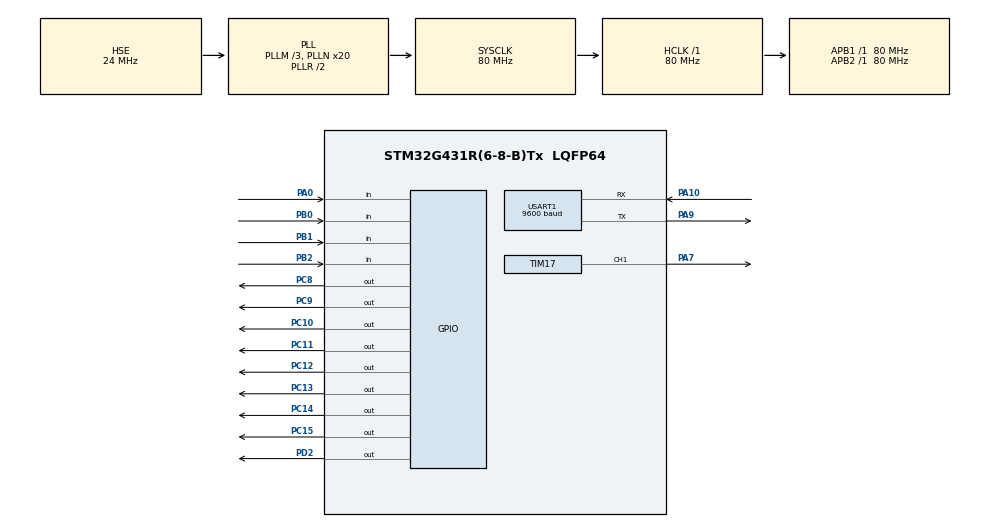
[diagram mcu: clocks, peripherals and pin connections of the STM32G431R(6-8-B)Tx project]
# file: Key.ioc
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Mcu.Family=STM32G4
Mcu.Name=STM32G431R(6-8-B)Tx
Mcu.Package=LQFP64
NVIC.PriorityGroup=NVIC_PRIORITYGROUP_4
NVIC.TIM3_IRQn=true\:0\:0\:false\:false\:true\:true\:true\:true
NVIC.USART1_IRQn=true\:0\:0\:false\:false\:true\:true\:true\:true
PA0.Signal=GPIO_Input
PA10.Mode=Asynchronous
PA10.Signal=USART1_RX
PA13.Mode=Serial_Wire
PA13.Signal=SYS_JTMS-SWDIO
PA14.Mode=Serial_Wire
PA14.Signal=SYS_JTCK-SWCLK
PA7.Signal=S_TIM17_CH1
PA9.Mode=Asynchronous
PA9.Signal=USART1_TX
PB0.GPIO_PuPd=GPIO_PULLUP
PB0.Signal=GPIO_Input
PB1.GPIO_PuPd=GPIO_PULLUP
PB1.Signal=GPIO_Input
PB2.GPIO_PuPd=GPIO_PULLUP
PB2.Signal=GPIO_Input
PC10.PinState=GPIO_PIN_SET
PC10.Signal=GPIO_Output
PC11.PinState=GPIO_PIN_SET
PC11.Signal=GPIO_Output
PC12.PinState=GPIO_PIN_SET
PC12.Signal=GPIO_Output
PC13.PinState=GPIO_PIN_SET
PC13.Signal=GPIO_Output
PC14-OSC32_IN.PinState=GPIO_PIN_SET
PC14-OSC32_IN.Signal=GPIO_Output
PC15-OSC32_OUT.PinState=GPIO_PIN_SET
PC15-OSC32_OUT.Signal=GPIO_Output
PC8.PinState=GPIO_PIN_SET
PC8.Signal=GPIO_Output
PC9.PinState=GPIO_PIN_SET
PC9.Signal=GPIO_Output
PD2.GPIO_ModeDefaultOutputPP=GPIO_MODE_OUTPUT_PP
PD2.GPIO_PuPd=GPIO_PULLUP
PD2.Signal=GPIO_Output
PF0-OSC_IN.Mode=HSE-External-Oscillator
PF0-OSC_IN.Signal=RCC_OSC_IN
PF1-OSC_OUT.Mode=HSE-External-Oscillator
PF1-OSC_OUT.Signal=RCC_OSC_OUT
ProjectManager.HeapSize=0x200
ProjectManager.StackSize=0x400
ProjectManager.TargetToolchain=MDK-ARM V5.32
RCC.ADC12Freq_Value=80000000
RCC.AHBFreq_Value=80000000
RCC.APB1Freq_Value=80000000
RCC.APB1TimFreq_Value=80000000
RCC.APB2Freq_Value=80000000
RCC.APB2TimFreq_Value=80000000
RCC.CortexFreq_Value=80000000
RCC.EXTERNAL_CLOCK_VALUE=12288000
RCC.HCLKFreq_Value=80000000
RCC.HSE_VALUE=24000000
RCC.HSI48_VALUE=48000000
RCC.HSI_VALUE=16000000
RCC.LSE_VALUE=32768
RCC.PLLM=RCC_PLLM_DIV3
RCC.PLLN=20
RCC.PLLSourceVirtual=RCC_PLLSOURCE_HSE
RCC.SYSCLKFreq_VALUE=80000000
RCC.SYSCLKSource=RCC_SYSCLKSOURCE_PLLCLK
RCC.USBFreq_Value=80000000
RCC.VCOOutputFreq_Value=160000000
SH.S_TIM17_CH1.0=TIM17_CH1,PWM Generation1 CH1
TIM17.Channel=TIM_CHANNEL_1
TIM17.PeriodNoDither=10-1
TIM17.Prescaler=4000-1
TIM17.PulseNoDither_1=20
TIM3.PeriodNoDither=10000-1
TIM3.Prescaler=80-1
USART1.BaudRate=9600
USART1.VirtualMode-Asynchronous=VM_ASYNC
VP_SYS_VS_DBSignals.Mode=DisableDeadBatterySignals
VP_TIM17_VS_ClockSourceINT.Mode=Enable_Timer
VP_TIM3_VS_ClockSourceINT.Mode=Internal
board=custom

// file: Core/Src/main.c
/* USER CODE BEGIN Header */
/**
  ******************************************************************************
  * @file           : main.c
  * @brief          : Main program body
  ******************************************************************************
  * @attention
  *
  * Copyright (c) 2024 STMicroelectronics.
  * All rights reserved.
  *
  * This software is licensed under terms that can be found in the LICENSE file
  * in the root directory of this software component.
  * If no LICENSE file comes with this software, it is provided AS-IS.
  *
  ******************************************************************************
  */
/* USER CODE END Header */
#include "main.h"
#include "tim.h"
#include "usart.h"
#include "gpio.h"

/* USER CODE BEGIN Includes */
#include "interrupt.h"
#include "lcd.h"
#include "stdlib.h"
#include "stdio.h"
#include "string.h"
/* USER CODE END Includes */

/* USER CODE BEGIN PTD */
extern struct keys key[4];
extern uint8_t rxbuffer[30];
extern uint8_t uart_flag;
extern uint8_t rx_data;
extern uint8_t rx_pointer;
void key_pro(void);
void view_pro(void);
void led_control(void);
void rx_pro(void);
uint8_t isparked(uint8_t* car_type , uint8_t* car_data);
uint8_t isempty(void);

/* USER CODE END PTD */

/* USER CODE BEGIN PD */
	uint8_t view=0;
	uint8_t CNBR=0;
	uint8_t VNBR=0;
	uint8_t IDLE=8;
	float cnbr_price=3.5;
	float	vnbr_price=2.0;
  uint8_t control=0;
  uint8_t car_type[5];
  uint8_t car_data[5];
  uint8_t car_time[13];
typedef struct Park
  {
    uint8_t car_type[5];
    uint8_t car_data[5];
    uint8_t car_time[13];
    bool ifPark;
  }Park;
/* USER CODE END PD */

/* USER CODE BEGIN PM */
Park park[8];
void Park_Init(Park* park);
/* USER CODE END PM */

void SystemClock_Config(void);

int main(void)
{

  /* MCU Configuration--------------------------------------------------------*/

  /* Reset of all peripherals, Initializes the Flash interface and the Systick. */
  HAL_Init();

  /* Configure the system clock */
  SystemClock_Config();

  /* Initialize all configured peripherals */
    MX_GPIO_Init();
    MX_TIM3_Init();
    MX_TIM17_Init();
    MX_USART1_UART_Init();
  /* USER CODE BEGIN 2 */
		LCD_Init();
		LCD_Clear(Black);
		LCD_SetBackColor(Black);
		LCD_SetTextColor(White);
    MX_GPIO_Init();
    MX_TIM3_Init();
    HAL_TIM_Base_Start_IT(&htim3);
    HAL_TIM_PWM_Start(&htim17,TIM_CHANNEL_1);
    HAL_UART_Receive_IT(&huart1 , &rx_data , 1);
    Park_Init(park);
    //HAL_GPIO_WritePin(GPIOD,GPIO_PIN_2,GPIO_PIN_SET);

  /* USER CODE END 2 */

  /* Infinite loop */
  while (1)
  {

    /* USER CODE BEGIN 3 */
			key_pro();
      view_pro();
      led_control();
      if(uart_flag==1)
      {
        //HAL_UART_Transmit(&huart1 , (uint8_t*)rxbuffer , strlen(rxbuffer),50);
        rx_pro();
        uart_flag=0;
      }

      //HAL_UART_Transmit(&huart1,(uint8_t *)"Error",strlen("Error"),50);
  }
  /* USER CODE END 3 */
}

void SystemClock_Config(void)
{
  RCC_OscInitTypeDef RCC_OscInitStruct = {0};
  RCC_ClkInitTypeDef RCC_ClkInitStruct = {0};

  /** Configure the main internal regulator output voltage
  */
  HAL_PWREx_ControlVoltageScaling(PWR_REGULATOR_VOLTAGE_SCALE1);

  /** Initializes the RCC Oscillators according to the specified parameters
  * in the RCC_OscInitTypeDef structure.
  */
  RCC_OscInitStruct.OscillatorType = RCC_OSCILLATORTYPE_HSE;
  RCC_OscInitStruct.HSEState = RCC_HSE_ON;
  RCC_OscInitStruct.PLL.PLLState = RCC_PLL_ON;
  RCC_OscInitStruct.PLL.PLLSource = RCC_PLLSOURCE_HSE;
  RCC_OscInitStruct.PLL.PLLM = RCC_PLLM_DIV3;
  RCC_OscInitStruct.PLL.PLLN = 20;
  RCC_OscInitStruct.PLL.PLLP = RCC_PLLP_DIV2;
  RCC_OscInitStruct.PLL.PLLQ = RCC_PLLQ_DIV2;
  RCC_OscInitStruct.PLL.PLLR = RCC_PLLR_DIV2;
  if (HAL_RCC_OscConfig(&RCC_OscInitStruct) != HAL_OK)
  {
    Error_Handler();
  }

  /** Initializes the CPU, AHB and APB buses clocks
  */
  RCC_ClkInitStruct.ClockType = RCC_CLOCKTYPE_HCLK|RCC_CLOCKTYPE_SYSCLK
                              |RCC_CLOCKTYPE_PCLK1|RCC_CLOCKTYPE_PCLK2;
  RCC_ClkInitStruct.SYSCLKSource = RCC_SYSCLKSOURCE_PLLCLK;
  RCC_ClkInitStruct.AHBCLKDivider = RCC_SYSCLK_DIV1;
  RCC_ClkInitStruct.APB1CLKDivider = RCC_HCLK_DIV1;
  RCC_ClkInitStruct.APB2CLKDivider = RCC_HCLK_DIV1;

  if (HAL_RCC_ClockConfig(&RCC_ClkInitStruct, FLASH_LATENCY_2) != HAL_OK)
  {
    Error_Handler();
  }
}

/* USER CODE BEGIN 4 */
void key_pro(void)
{
	if(key[0].single_flag==1)
	{
		key[0].single_flag=0;
    view+=1;
    if(view>1){
      view = 0;
    }
	}
	if(key[1].single_flag==1)
	{
		key[1].single_flag=0;
    if(view==1)
    {
      cnbr_price+=0.5f;
      vnbr_price+=0.5f;
    }
	}
	if(key[2].single_flag==1)
	{
		key[2].single_flag=0;
    if(view==1)
    {
      cnbr_price-=0.5f;
      vnbr_price-=0.5f;
    }
	}
	if(key[3].single_flag==1)
	{
		key[3].single_flag=0;
    control+=1;
    if(control>1)
    {
      control=0;
    }
	}
}

void view_pro(void)
{
	if(view==0)
	{
		LCD_DisplayStringLine(Line1,(uint8_t *)"       Data         ");
		uint8_t text[30];
		sprintf(text , "   CNBR:%d           ",CNBR);
		LCD_DisplayStringLine(Line3,(uint8_t *)text);
		sprintf(text , "   VNBR:%d           ",VNBR);
		LCD_DisplayStringLine(Line5,(uint8_t *)text);
		sprintf(text , "   IDLE:%d           ",IDLE);
		LCD_DisplayStringLine(Line7,(uint8_t *)text);
	}

	if(view==1)
	{
		LCD_DisplayStringLine(Line1,(uint8_t *)"       Para         ");
		uint8_t text[30];
		sprintf(text,"   CNBR:%.2f      ",cnbr_price);
		LCD_DisplayStringLine(Line3,(uint8_t *)text);
		sprintf(text,"   VNBR:%.2f      ",vnbr_price);
		LCD_DisplayStringLine(Line5,(uint8_t *)text);
		LCD_DisplayStringLine(Line7,(uint8_t *)"                   ");
	}
}

void control_PA7()
{
    if(control==0)
    {
      __HAL_TIM_SET_PRESCALER(&htim17,400-1);
      __HAL_TIM_SET_AUTORELOAD(&htim17,100-1);
      __HAL_TIM_SET_COMPARE(&htim17,TIM_CHANNEL_1,20);
      HAL_TIM_GenerateEvent(&htim17,TIM_EVENTSOURCE_UPDATE);

    }else{
      __HAL_TIM_SET_COMPARE(&htim17,TIM_CHANNEL_1,0);
      HAL_TIM_GenerateEvent(&htim17,TIM_EVENTSOURCE_UPDATE);
    }
}

void led_control()
{
  if(IDLE)
  {
    HAL_GPIO_WritePin(GPIOC,GPIO_PIN_8|GPIO_PIN_9|GPIO_PIN_10|GPIO_PIN_11|GPIO_PIN_12|GPIO_PIN_13|GPIO_PIN_14|GPIO_PIN_15,GPIO_PIN_SET);
    HAL_GPIO_WritePin(GPIOC,GPIO_PIN_8,GPIO_PIN_RESET);
    HAL_GPIO_WritePin(GPIOD,GPIO_PIN_2,GPIO_PIN_SET);
    HAL_GPIO_WritePin(GPIOD,GPIO_PIN_2,GPIO_PIN_RESET);
  }else{
    HAL_GPIO_WritePin(GPIOC,GPIO_PIN_8|GPIO_PIN_9|GPIO_PIN_10|GPIO_PIN_11|GPIO_PIN_12|GPIO_PIN_13|GPIO_PIN_14|GPIO_PIN_15,GPIO_PIN_SET);
    HAL_GPIO_WritePin(GPIOC,GPIO_PIN_8,GPIO_PIN_SET);
    HAL_GPIO_WritePin(GPIOD,GPIO_PIN_2,GPIO_PIN_SET);
    HAL_GPIO_WritePin(GPIOD,GPIO_PIN_2,GPIO_PIN_RESET);
  }
  if(control==0)
  {
    HAL_GPIO_WritePin(GPIOC,GPIO_PIN_9,GPIO_PIN_RESET);
    HAL_GPIO_WritePin(GPIOD,GPIO_PIN_2,GPIO_PIN_SET);
    HAL_GPIO_WritePin(GPIOD,GPIO_PIN_2,GPIO_PIN_RESET);
  }else{
    HAL_GPIO_WritePin(GPIOC,GPIO_PIN_9,GPIO_PIN_SET);
    HAL_GPIO_WritePin(GPIOD,GPIO_PIN_2,GPIO_PIN_SET);
    HAL_GPIO_WritePin(GPIOD,GPIO_PIN_2,GPIO_PIN_RESET);
  }
}

void rx_pro()
{
  uint8_t numok;

  for(int i=10;i<22;i++)
  {
    if(rxbuffer[i]<='9'&&rxbuffer[i]>='0'){
      numok = 1;
      //HAL_UART_Transmit(&huart1 , (uint8_t*)rxbuffer , strlen(rxbuffer),50);
    }else{
      numok = 0;
      HAL_UART_Transmit(&huart1,(uint8_t *)"Error\r\n",strlen("Error\r\n"),50);
    }
  }
  if(numok && (strncmp("VNBR",rxbuffer,4)==0||strncmp("CNBR",rxbuffer,4)==0))
  {
    sscanf(rxbuffer,"%4s:%4s:%12s", car_type , car_data , car_time);
    // char text[10];
    // sprintf(text , "%d\r\n" , rx_pointer);
    // HAL_UART_Transmit(&huart1 , (uint8_t*)text , strlen(text),50);
    // HAL_UART_Transmit(&huart1 , (uint8_t*)car_type , strlen(car_type),50);
    // HAL_UART_Transmit(&huart1 , "\r\n" , strlen("\r\n"),50);
    // HAL_UART_Transmit(&huart1 , (uint8_t*)car_data , strlen(car_data),50);
    // HAL_UART_Transmit(&huart1 , "\r\n" , strlen("\r\n"),50);
    // HAL_UART_Transmit(&huart1 , (uint8_t*)car_time , strlen(car_time),50);
    int ifpark = isparked(car_type , car_data);
    if(ifpark==8)
    {
      //入库函数
      uint8_t emptyPark = isempty();
      if(strncmp("CNBR" , car_type , 4)==0)
      {
        CNBR++;
        IDLE--;
      }else if(strncmp("VNBR" , car_type , 4)==0)
      {
        VNBR++;
        IDLE--;
      }
      strcpy(park[emptyPark].car_type , car_type);
      strcpy(park[emptyPark].car_data , car_data);
      strcpy(park[emptyPark].car_time , car_time);
      park[emptyPark].ifPark = 0;
          // HAL_UART_Transmit(&huart1 , (uint8_t*)park[emptyPark].car_type , strlen(park[emptyPark].car_type),50);
          // HAL_UART_Transmit(&huart1 , "\r\n" , strlen("\r\n"),50);
          // HAL_UART_Transmit(&huart1 , (uint8_t*)park[emptyPark].car_data , strlen(park[emptyPark].car_data),50);
          // HAL_UART_Transmit(&huart1 , "\r\n" , strlen("\r\n"),50);
          // HAL_UART_Transmit(&huart1 , (uint8_t*)park[emptyPark].car_time , strlen(park[emptyPark].car_time),50);
          // HAL_UART_Transmit(&huart1 , "\r\n" , strlen("\r\n"),50);
          // char text[10];
          // sprintf(text , "%d\r\n" , park[emptyPark].ifPark);
          // HAL_UART_Transmit(&huart1 , (uint8_t*)text , strlen(text),50);
    }
    else
    {
      //出库函数
      int dayin,dayout;
      int hourin,hourout;
      int minin,minout;
      dayin = (park[ifpark].car_time[4]-'0')*10 + (park[ifpark].car_time[5] - '0');
      dayout = (car_time[4]-'0')*10 + (car_time[5]-'0');
          // char text[10];
          // sprintf(text , "dayin:%d\r\n" , dayin);
          // HAL_UART_Transmit(&huart1 , (uint8_t*)text , strlen(text),50);
          // sprintf(text , "dayout:%d\r\n" , dayout);
          // HAL_UART_Transmit(&huart1 , (uint8_t*)text , strlen(text),50);
      int daylong = dayout - dayin;
      hourin = (park[ifpark].car_time[6]-'0')*10 + (park[ifpark].car_time[7] - '0');
      hourout = (car_time[6]-'0')*10 + (car_time[7]-'0');
      int hourlong = hourout - hourin + 24*daylong;
      minin = (park[ifpark].car_time[8]-'0')*10 + (park[ifpark].car_time[9] - '0');
      minout = (car_time[8]-'0')*10 + (car_time[9]-'0');
      if(minout - minin>0)
      {
        hourlong++;
      }
      if(strncmp("CNBR" , car_type , 4)==0)
      {
        uint8_t result[30];
        // uint8_t price[10];
        // sprintf(price , "%.2f\n" , cnbr_price*hourlong);
        // HAL_UART_Transmit(&huart1 , (uint8_t *)price , strlen(price) , 50);
        // HAL_UART_Transmit(&huart1 , (uint8_t *)car_type , strlen(car_type) , 50);
        sprintf(result , "%s:%s:%.2f\r\n" , car_type , car_data , cnbr_price*hourlong);
        HAL_UART_Transmit(&huart1 , (uint8_t *)result , strlen(result) , 50);
        IDLE++;
        CNBR--;
        strcpy(park[ifpark].car_type , "0");
        strcpy(park[ifpark].car_data , "0");
        strcpy(park[ifpark].car_time , "0");
        park[ifpark].ifPark = 1;
      }
      if(strncmp("VNBR" , car_type , 4)==0)
      {
        uint8_t result[30];
        sprintf(result , "%s:%s:%.2f\r\n" , car_type , car_data , vnbr_price*hourlong);
        HAL_UART_Transmit(&huart1 , (uint8_t *)result , strlen(result) , 50);
        IDLE++;
        VNBR--;
        strcpy(park[ifpark].car_type , "0");
        strcpy(park[ifpark].car_data , "0");
        strcpy(park[ifpark].car_time , "0");
        park[ifpark].ifPark = 1;
      }
    }
  }else{
    HAL_UART_Transmit(&huart1 , (uint8_t *)"Error\r\n" , strlen("Error\r\n") , 50);
  }
  rx_pointer=0;
  memset(rxbuffer , 0 , 30);
}
uint8_t isparked(uint8_t* car_type , uint8_t* car_data)
{
    uint8_t i;
    for(i=0;i<8;i++)
    {
      if(park[i].ifPark ==1)    //ifPark为1表示没停车
          continue;
      if(strncmp(car_type , park[i].car_type , 4)==0 && strncmp(car_data , park[i].car_data , 4)==0)
      {
        break;
      }
    }
    return i;
}

uint8_t isempty()
{
  uint8_t i=0;
  for(i=0;i<8;i++)
  {
    if(park[i].ifPark)
        return i;
  }
}

void Park_Init(Park* park)
{
    for(int i=0;i<8;i++)
    {
      strcpy(park[i].car_data , "");
      strcpy(park[i].car_time , "");
      strcpy(park[i].car_type , "");
      park[i].ifPark = 1;
    }
}

/* USER CODE END 4 */

void Error_Handler(void)
{
  __disable_irq();
  while (1)
  {
  }
}
